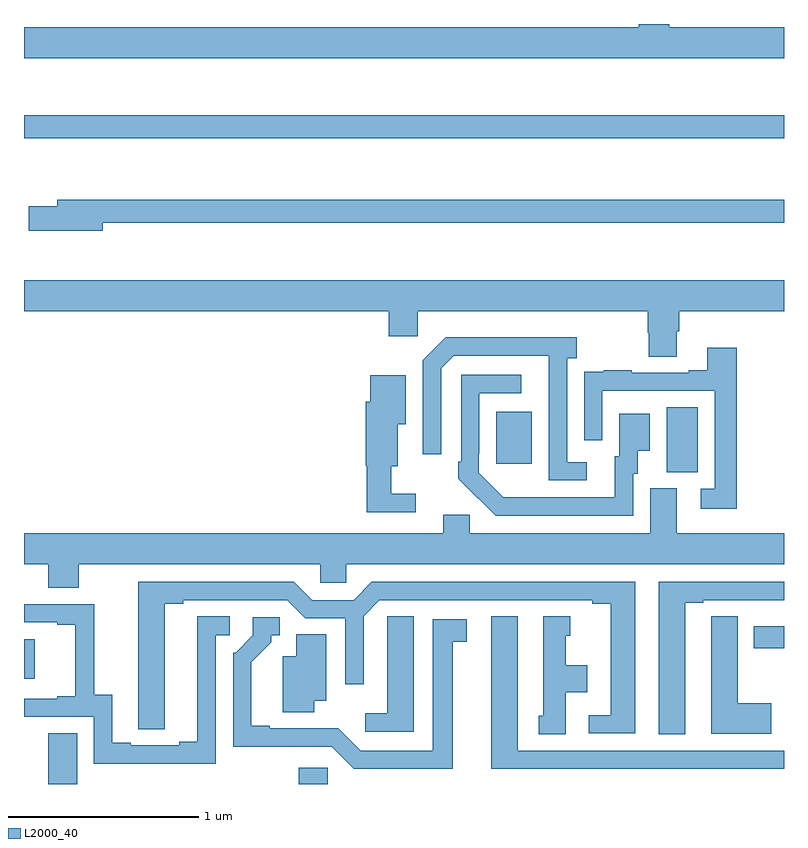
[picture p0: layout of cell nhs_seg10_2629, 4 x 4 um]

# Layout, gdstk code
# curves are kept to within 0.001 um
import gdstk
lib = gdstk.Library(unit=1e-6, precision=1e-09)
def R(c, l, rs):  # rectangles x0, y0, x1, y1
    for r in rs: c.add(gdstk.rectangle(r[:2], r[2:], *l))
def P(c, l, *ps):  # polygons
    for p in ps: c.add(gdstk.Polygon(p, *l))
L2000_40 = (2000, 40)

nhs_seg10_2629 = lib.new_cell('nhs_seg10_2629')
R(nhs_seg10_2629, L2000_40, [(253.127,1292.5,253.279,1292.768), (254.447,1292.5,254.598,1292.586), (253,1293.053,253.057,1293.262), (256.841,1293.214,257,1293.33), (256.382,1294.141,256.546,1294.484), (255.485,1294.185,255.673,1294.459), (253,1295.898,257,1296.019)])
P(nhs_seg10_2629, L2000_40, [(257,1296.484),(256.395,1296.484),(256.395,1296.5),(256.235,1296.5),(256.235,1296.484),(253,1296.484),(253,1296.32),(257,1296.32)],
  [(253.414,1295.454),(257,1295.454),(257,1295.575),(253.175,1295.575),(253.175,1295.541),(253.026,1295.541),(253.026,1295.411),(253.414,1295.411)],
  [(256.435,1294.882),(256.448,1294.882),(256.448,1294.988),(257,1294.988),(257,1295.152),(253,1295.152),(253,1294.988),(254.921,1294.988),(254.921,1294.857),(255.072,1294.857),(255.072,1294.988),(256.283,1294.988),(256.283,1294.875),(256.288,1294.875),(256.288,1294.75),(256.435,1294.75)],
  [(255.961,1294.194),(255.858,1294.194),(255.858,1294.742),(255.91,1294.742),(255.91,1294.852),(255.22,1294.852),(255.099,1294.731),(255.099,1294.236),(255.195,1294.236),(255.195,1294.689),(255.261,1294.755),(255.761,1294.755),(255.762,1294.098),(255.961,1294.098)],
  [(256.751,1294.795),(256.595,1294.795),(256.595,1294.678),(256.499,1294.678),(256.499,1294.665),(256.199,1294.665),(256.199,1294.678),(256.051,1294.678),(256.051,1294.671),(255.949,1294.671),(255.949,1294.562),(255.948,1294.562),(255.948,1294.308),(256.044,1294.308),(256.044,1294.569),(256.635,1294.569),(256.635,1294.053),(256.563,1294.053),(256.563,1293.948),(256.751,1293.948)],
  [(256.206,1294.134),(256.231,1294.134),(256.231,1294.253),(256.294,1294.253),(256.294,1294.45),(256.133,1294.45),(256.133,1294.224),(256.109,1294.224),(256.109,1294.008),(255.522,1294.009),(255.393,1294.137),(255.393,1294.237),(255.396,1294.237),(255.396,1294.557),(255.616,1294.557),(255.616,1294.653),(255.3,1294.653),(255.3,1294.195),(255.285,1294.195),(255.285,1294.107),(255.482,1293.912),(256.206,1293.912)],
  [(255.061,1294.027),(254.932,1294.027),(254.932,1294.172),(254.968,1294.172),(254.968,1294.394),(255.01,1294.394),(255.01,1294.651),(254.822,1294.651),(254.822,1294.512),(254.798,1294.512),(254.798,1294.176),(254.803,1294.176),(254.803,1293.93),(255.061,1293.93)],
  [(253.287,1293.656),(254.559,1293.656),(254.559,1293.558),(254.697,1293.558),(254.697,1293.656),(257,1293.656),(257,1293.82),(256.435,1293.82),(256.435,1294.056),(256.295,1294.056),(256.295,1293.82),(255.345,1293.82),(255.345,1293.918),(255.206,1293.918),(255.206,1293.82),(253,1293.82),(253,1293.656),(253.127,1293.656),(253.127,1293.532),(253.287,1293.532)],
  [(256.216,1293.564),(254.831,1293.564),(254.735,1293.468),(254.517,1293.468),(254.421,1293.564),(253.601,1293.564),(253.602,1292.788),(253.741,1292.788),(253.741,1293.448),(253.837,1293.448),(253.837,1293.468),(254.385,1293.468),(254.481,1293.372),(254.691,1293.372),(254.691,1293.024),(254.787,1293.024),(254.787,1293.384),(254.871,1293.468),(255.992,1293.468),(255.992,1293.448),(256.088,1293.448),(256.088,1292.862),(255.972,1292.862),(255.972,1292.766),(256.216,1292.766)],
  [(256.48,1293.453),(256.576,1293.453),(256.576,1293.468),(256.852,1293.468),(256.852,1293.467),(257,1293.467),(257,1293.564),(256.34,1293.564),(256.34,1292.761),(256.48,1292.761)],
  [(254.01,1293.282),(254.083,1293.282),(254.083,1293.383),(253.913,1293.383),(253.913,1292.723),(253.817,1292.723),(253.817,1292.703),(253.561,1292.703),(253.561,1292.718),(253.465,1292.718),(253.465,1292.969),(253.371,1292.969),(253.371,1293.447),(253,1293.447),(253,1293.351),(253.175,1293.351),(253.175,1293.339),(253.271,1293.339),(253.271,1292.962),(253.175,1292.962),(253.175,1292.949),(253,1292.949),(253,1292.853),(253.368,1292.853),(253.368,1292.607),(254.01,1292.607)],
  [(256.933,1292.925),(256.756,1292.925),(256.756,1293.383),(256.617,1293.383),(256.617,1293.275),(256.616,1293.275),(256.616,1292.765),(256.933,1292.765)],
  [(255.052,1293.383),(254.913,1293.383),(254.913,1293.275),(254.912,1293.275),(254.912,1292.872),(254.796,1292.872),(254.796,1292.775),(255.052,1292.775)],
  [(255.85,1292.984),(255.964,1292.984),(255.964,1293.124),(255.85,1293.124),(255.85,1293.279),(255.874,1293.279),(255.874,1293.382),(255.734,1293.382),(255.734,1292.859),(255.71,1292.859),(255.71,1292.761),(255.85,1292.761)],
  [(257,1292.676),(255.598,1292.676),(255.598,1293.382),(255.458,1293.382),(255.458,1292.58),(257,1292.58)],
  [(255.256,1293.25),(255.331,1293.25),(255.331,1293.366),(255.152,1293.366),(255.152,1292.676),(254.772,1292.676),(254.654,1292.794),(254.293,1292.793),(254.293,1292.806),(254.197,1292.806),(254.197,1293.142),(254.302,1293.247),(254.302,1293.282),(254.347,1293.282),(254.347,1293.378),(254.205,1293.378),(254.205,1293.282),(254.115,1293.192),(254.1,1293.192),(254.1,1292.696),(254.619,1292.697),(254.736,1292.58),(255.256,1292.58)],
  [(254.527,1292.939),(254.59,1292.939),(254.59,1293.287),(254.432,1293.287),(254.432,1293.172),(254.363,1293.172),(254.363,1292.878),(254.527,1292.878)])

lib.write_gds('nhs_seg10_2629.gds')
